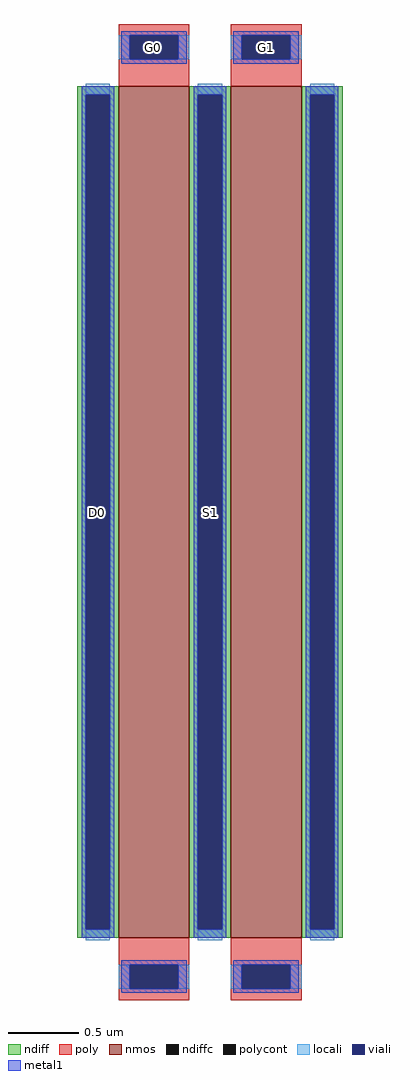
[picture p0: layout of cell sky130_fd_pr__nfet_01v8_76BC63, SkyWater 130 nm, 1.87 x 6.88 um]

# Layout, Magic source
magic
tech sky130A
magscale 1 2
<< nmos >>
rect -129 -600 -29 600
rect 29 -600 129 600
<< ndiff >>
rect -187 588 -129 600
rect -187 -588 -175 588
rect -141 -588 -129 588
rect -187 -600 -129 -588
rect -29 588 29 600
rect -29 -588 -17 588
rect 17 -588 29 588
rect -29 -600 29 -588
rect 129 588 187 600
rect 129 -588 141 588
rect 175 -588 187 588
rect 129 -600 187 -588
<< ndiffc >>
rect -175 -588 -141 588
rect -17 -588 17 588
rect 141 -588 175 588
<< poly >>
rect -129 672 -29 688
rect -129 638 -113 672
rect -45 638 -29 672
rect -129 600 -29 638
rect 29 672 129 688
rect 29 638 45 672
rect 113 638 129 672
rect 29 600 129 638
rect -129 -638 -29 -600
rect -129 -672 -113 -638
rect -45 -672 -29 -638
rect -129 -688 -29 -672
rect 29 -638 129 -600
rect 29 -672 45 -638
rect 113 -672 129 -638
rect 29 -688 129 -672
<< polycont >>
rect -113 638 -45 672
rect 45 638 113 672
rect -113 -672 -45 -638
rect 45 -672 113 -638
<< locali >>
rect -129 638 -113 672
rect -45 638 -29 672
rect 29 638 45 672
rect 113 638 129 672
rect -175 588 -141 604
rect -175 -604 -141 -588
rect -17 588 17 604
rect -17 -604 17 -588
rect 141 588 175 604
rect 141 -604 175 -588
rect -129 -672 -113 -638
rect -45 -672 -29 -638
rect 29 -672 45 -638
rect 113 -672 129 -638
<< viali >>
rect -113 638 -45 672
rect 45 638 113 672
rect -175 -588 -141 588
rect -17 -588 17 588
rect 141 -588 175 588
rect -113 -672 -45 -638
rect 45 -672 113 -638
<< metal1 >>
rect -125 672 -33 678
rect -125 638 -113 672
rect -45 638 -33 672
rect -125 632 -33 638
rect 33 672 125 678
rect 33 638 45 672
rect 113 638 125 672
rect 33 632 125 638
rect -181 588 -135 600
rect -181 -588 -175 588
rect -141 -588 -135 588
rect -181 -600 -135 -588
rect -23 588 23 600
rect -23 -588 -17 588
rect 17 -588 23 588
rect -23 -600 23 -588
rect 135 588 181 600
rect 135 -588 141 588
rect 175 -588 181 588
rect 135 -600 181 -588
rect -125 -638 -33 -632
rect -125 -672 -113 -638
rect -45 -672 -33 -638
rect -125 -678 -33 -672
rect 33 -638 125 -632
rect 33 -672 45 -638
rect 113 -672 125 -638
rect 33 -678 125 -672
<< labels >>
rlabel ndiffc -158 0 -158 0 0 D0
port 1 nsew
rlabel polycont -79 655 -79 655 0 G0
port 2 nsew
rlabel ndiffc 0 0 0 0 0 S1
port 3 nsew
rlabel polycont 79 655 79 655 0 G1
port 4 nsew
<< properties >>
string gencell sky130_fd_pr__nfet_01v8
string library sky130
string parameters w 6 l 0.5 m 1 nf 2 diffcov 100 polycov 100 guard 0 glc 1 grc 1 gtc 1 gbc 1 tbcov 100 rlcov 100 topc 1 botc 1 poverlap 0 doverlap 1 lmin 0.15 wmin 0.42 class mosfet compatible {sky130_fd_pr__nfet_01v8 sky130_fd_pr__nfet_01v8_lvt  sky130_fd_bs_flash__special_sonosfet_star  sky130_fd_pr__nfet_g5v0d10v5 sky130_fd_pr__nfet_05v0_nvt  sky130_fd_pr__nfet_03v3_nvt} full_metal 1 conn_gates 0 viasrc 100 viadrn 100 viagate 100 viagb 0 viagr 0 viagl 0 viagt 0 doports 1
<< end >>
